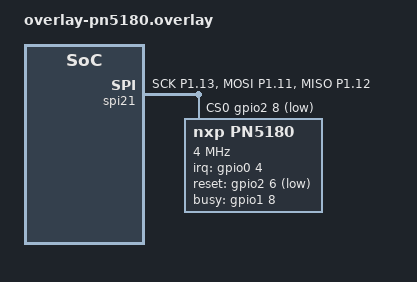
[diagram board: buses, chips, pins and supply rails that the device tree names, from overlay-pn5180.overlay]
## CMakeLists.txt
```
#
# Copyright (c) 2025 Nordic Semiconductor ASA
#
# SPDX-License-Identifier: LicenseRef-Nordic-5-Clause
#

cmake_minimum_required(VERSION 3.20.0)
find_package(Zephyr REQUIRED HINTS $ENV{ZEPHYR_BASE})

project(ncs-nxp-discovery-loop-sample)

set(app_sources
  src/main.c
  src/disc_loop_config.c
  src/disc_loop_pn5190.c
)

target_sources(app PRIVATE ${app_sources})

target_include_directories(app PRIVATE
  ${CMAKE_CURRENT_SOURCE_DIR}/include
)
```

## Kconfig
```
#
# Copyright (c) 2025 Nordic Semiconductor ASA
#
# SPDX-License-Identifier: LicenseRef-Nordic-5-Clause
#

menu "Zephyr"
source "Kconfig.zephyr"
endmenu

module = NCS_NXP_DISCOVERY_LOOP_SAMPLE
module-str = NCS_NXP_DISCOVERY_LOOP_SAMPLE
module-dep = LOG
module-help = Enables application log messages.
source "$(ZEPHYR_BASE)/subsys/logging/Kconfig.template.log_config"

menu "NXP discovery loop sample"

config NCS_NXP_DISCOVERY_LOOP_DISC_CONFIG
	bool "Configure discovery loop profile settings"
	default y
	help
	  Apply sample discovery loop profile configuration via
	  disc_loop_apply_profile() instead of using Reader Library defaults.

config NCS_NXP_DISCOVERY_LOOP_LPCD
	bool "Low power card detection (LPCD)"
	default y
	help
	  Configure and enable LPCD in the discovery loop to reduce power
	  consumption while waiting for a tag.

endmenu
```

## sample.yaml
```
sample:
  description: NXP discovery loop sample application
  name: ncs-nxp-discovery-loop-sample
common:
  sysbuild: true
  build_only: true
  platform_allow: &platforms
    - nrf54l15dk/nrf54l15/cpuapp
  integration_platforms: *platforms
tests:
  app.nxp_discovery_loop: {}
```

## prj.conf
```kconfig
#
# Copyright (c) 2025 Nordic Semiconductor ASA
#
# SPDX-License-Identifier: LicenseRef-Nordic-5-Clause
#
# This file contains selected Kconfig options for the application.

# logging
CONFIG_LOG=y
CONFIG_NCS_NXP_DISCOVERY_LOOP_SAMPLE_LOG_LEVEL_INF=y

# use NFC NXP driver HAL
CONFIG_NFC_DRIVER_NXP=y
CONFIG_NFC_DRIVER_STM=n
CONFIG_PN5190_DRV=y
CONFIG_NFC_NXP_PAL_I14443P3A=y
CONFIG_NFC_NXP_PAL_I14443P4A=y
CONFIG_NFC_NXP_PAL_I14443P4=y

CONFIG_MAIN_STACK_SIZE=4096

# Discovery loop profile configuration (enabled by default via Kconfig)
# CONFIG_NCS_NXP_DISCOVERY_LOOP_DISC_CONFIG=n

# Low power card detection (enabled by default via Kconfig)
# CONFIG_NCS_NXP_DISCOVERY_LOOP_LPCD=n
```

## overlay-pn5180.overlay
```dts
/*
 * Copyright (c) 2025 Nordic Semiconductor ASA
 *
 * SPDX-License-Identifier: LicenseRef-Nordic-5-Clause
 */

/ {
	buttons {
		/delete-node/ button_0;
		/delete-node/ button_2;
		/delete-node/ button_3;
	};

	leds {
		/delete-node/ led_0;
	};

	aliases {
		/delete-property/ sw0;
		/delete-property/ sw2;
		/delete-property/ sw3;
		/delete-property/ led0;
		/delete-property/ mcuboot-led0;
		mcuboot-button0 = &button1;
	};

	chosen {
		nordic,pm-ext-flash = &mx25r64;
	};
};

&pinctrl {
	spi21_default: spi21_default {
		group1 {
			psels = <NRF_PSEL(SPIM_SCK, 1, 13)>,
			        <NRF_PSEL(SPIM_MOSI, 1, 11)>,
			        <NRF_PSEL(SPIM_MISO, 1, 12)>;
			nordic,drive-mode = <NRF_DRIVE_H0H1>;
		};
	};

	spi21_sleep: spi21_sleep {
		group1 {
			psels = <NRF_PSEL(SPIM_SCK, 1, 13)>,
			        <NRF_PSEL(SPIM_MOSI, 1, 11)>,
			        <NRF_PSEL(SPIM_MISO, 1, 12)>;
			low-power-enable;
		};
	};
};

&spi21 {
	compatible = "nordic,nrf-spim";
	status = "okay";
	cs-gpios = <&gpio2 8 GPIO_ACTIVE_LOW>;

	pinctrl-0 = <&spi21_default>;
	pinctrl-1 = <&spi21_sleep>;
	pinctrl-names = "default", "sleep";
	pn5180@0 {
		compatible = "nxp,pn5180";
		reg = <0>;
		spi-max-frequency = <4000000>;
		irq-gpios = <&gpio0 4 GPIO_ACTIVE_HIGH>;
		reset-gpios = <&gpio2 6 (GPIO_ACTIVE_LOW|GPIO_PULL_UP)>;
		busy-gpios = <&gpio1 8 GPIO_ACTIVE_HIGH>;
	};
};

&gpio0 {
	status = "okay";
	/* Use PORT event rather than GPIOTE IN event, to save power */
	sense-edge-mask = <0x00000010>; /* P0.04 */
};
```

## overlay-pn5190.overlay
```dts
/*
 * Copyright (c) 2025 Nordic Semiconductor ASA
 *
 * SPDX-License-Identifier: LicenseRef-Nordic-5-Clause
 */

/ {
	buttons {
		/delete-node/ button_0;
		/delete-node/ button_3;
	};

	leds {
		/delete-node/ led_0;
	};

	aliases {
		/delete-property/ sw0;
		/delete-property/ sw3;
		/delete-property/ led0;
		/delete-property/ mcuboot-led0;
		mcuboot-button0 = &button1;
	};

	chosen {
		nordic,pm-ext-flash = &mx25r64;
	};
};

&pinctrl {
	spi21_default: spi21_default {
		group1 {
			psels = <NRF_PSEL(SPIM_SCK, 1, 13)>,
			        <NRF_PSEL(SPIM_MOSI, 1, 11)>,
			        <NRF_PSEL(SPIM_MISO, 1, 12)>;
			nordic,drive-mode = <NRF_DRIVE_H0H1>;
		};
	};

	spi21_sleep: spi21_sleep {
		group1 {
			psels = <NRF_PSEL(SPIM_SCK, 1, 13)>,
			        <NRF_PSEL(SPIM_MOSI, 1, 11)>,
			        <NRF_PSEL(SPIM_MISO, 1, 12)>;
			low-power-enable;
		};
	};
};

&spi21 {
	compatible = "nordic,nrf-spim";
	status = "okay";
	cs-gpios = <&gpio2 8 GPIO_ACTIVE_LOW>;

	pinctrl-0 = <&spi21_default>;
	pinctrl-1 = <&spi21_sleep>;
	pinctrl-names = "default", "sleep";
	pn5190@0 {
		compatible = "nxp,pn5190";
		reg = <0>;
		spi-max-frequency = <8000000>;
		irq-gpios = <&gpio0 4 GPIO_ACTIVE_HIGH>;
		reset-gpios = <&gpio2 6 (GPIO_ACTIVE_LOW|GPIO_PULL_UP)>;
	};
};

&gpio0 {
	status = "okay";
	/* Use PORT event rather than GPIOTE IN event, to save power */
	sense-edge-mask = <0x00000010>; /* P0.04 */
};
```

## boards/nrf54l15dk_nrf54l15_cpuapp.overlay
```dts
/*
 * Copyright (c) 2025 Nordic Semiconductor ASA
 *
 * SPDX-License-Identifier: LicenseRef-Nordic-5-Clause
 */

&gpio0 {
	status = "okay";
};

&gpio1 {
	status = "okay";
};

&gpio2 {
	status = "okay";
};

/* restore full RRAM and SRAM space - by default some parts are dedicated to FLRP */
&cpuapp_rram {
	reg = <0x0 DT_SIZE_K(1524)>;
};

&cpuapp_sram {
	reg = <0x20000000 DT_SIZE_K(256)>;
	ranges = <0x0 0x20000000 0x40000>;
};

&mx25r64 {
	status = "okay";
};
```

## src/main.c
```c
#include <zephyr/kernel.h>
#include <zephyr/logging/log.h>

#include <disc_loop_config.h>
#include <nxp_nfc_debug.h>

LOG_MODULE_REGISTER(nxp_discovery_loop, CONFIG_NCS_NXP_DISCOVERY_LOOP_SAMPLE_LOG_LEVEL);

phacDiscLoop_Sw_DataParams_t *disc_loop;

#if defined(CONFIG_NFC_NXP_PAL_I14443P3A) && \
	defined(CONFIG_NFC_NXP_PAL_I14443P4A) && \
	defined(CONFIG_NFC_NXP_PAL_I14443P4)
static uint8_t type_a_ats_buf[64];
#endif

static uint16_t saved_poll_tech_cfg;
static volatile uint8_t halt_forever = 1U;

static uint16_t nfc_forum_process(uint16_t entry_point, phStatus_t disc_loop_status)
{
	phStatus_t status;
	uint16_t tech_detected;
	uint16_t num_tags;
	uint16_t error_info;
	uint8_t tech_idx;

	if (entry_point != PHAC_DISCLOOP_ENTRY_POINT_POLL) {
		return PHAC_DISCLOOP_ENTRY_POINT_POLL;
	}

	if ((disc_loop_status & PH_ERR_MASK) == PHAC_DISCLOOP_MULTI_TECH_DETECTED) {
		LOG_INF("Multiple technology detected");

		status = phacDiscLoop_GetConfig(disc_loop, PHAC_DISCLOOP_CONFIG_TECH_DETECTED,
						&tech_detected);
		if (status != PH_ERR_SUCCESS) {
			LOG_ERR("phacDiscLoop_GetConfig PHAC_DISCLOOP_CONFIG_TECH_DETECTED failed: 0x%04x",
				status);
			return PHAC_DISCLOOP_ENTRY_POINT_POLL;
		}

		if (PHAC_DISCLOOP_CHECK_ANDMASK(tech_detected, PHAC_DISCLOOP_POS_BIT_MASK_A)) {
			LOG_INF("Type A detected");
		}
		if (PHAC_DISCLOOP_CHECK_ANDMASK(tech_detected, PHAC_DISCLOOP_POS_BIT_MASK_B)) {
			LOG_INF("Type B detected");
		}

		for (tech_idx = 0; tech_idx < PHAC_DISCLOOP_PASS_POLL_MAX_TECHS_SUPPORTED;
		     tech_idx++) {
			if (PHAC_DISCLOOP_CHECK_ANDMASK(tech_detected, (1 << tech_idx))) {
				status = phacDiscLoop_SetConfig(disc_loop,
								PHAC_DISCLOOP_CONFIG_PAS_POLL_TECH_CFG,
								(1 << tech_idx));
				if (status != PH_ERR_SUCCESS) {
					LOG_ERR("phacDiscLoop_SetConfig PHAC_DISCLOOP_CONFIG_PAS_POLL_TECH_CFG failed: 0x%04x",
						status);
					return PHAC_DISCLOOP_ENTRY_POINT_POLL;
				}
				break;
			}
		}

		nxp_nfc_debug_print_tech((1 << tech_idx));

		status = phacDiscLoop_SetConfig(disc_loop, PHAC_DISCLOOP_CONFIG_NEXT_POLL_STATE,
						PHAC_DISCLOOP_POLL_STATE_COLLISION_RESOLUTION);
		if (status != PH_ERR_SUCCESS) {
			LOG_ERR("phacDiscLoop_SetConfig PHAC_DISCLOOP_CONFIG_NEXT_POLL_STATE failed: 0x%04x",
				status);
			return PHAC_DISCLOOP_ENTRY_POINT_POLL;
		}

		disc_loop_status = phacDiscLoop_Run(disc_loop, entry_point);
	}

	if ((disc_loop_status & PH_ERR_MASK) == PHAC_DISCLOOP_MULTI_DEVICES_RESOLVED) {
		status = phacDiscLoop_GetConfig(disc_loop, PHAC_DISCLOOP_CONFIG_TECH_DETECTED,
						&tech_detected);
		if (status != PH_ERR_SUCCESS) {
			LOG_ERR("phacDiscLoop_GetConfig PHAC_DISCLOOP_CONFIG_TECH_DETECTED failed: 0x%04x",
				status);
			return PHAC_DISCLOOP_ENTRY_POINT_POLL;
		}

		status = phacDiscLoop_GetConfig(disc_loop, PHAC_DISCLOOP_CONFIG_NR_TAGS_FOUND,
						&num_tags);
		if (status != PH_ERR_SUCCESS) {
			LOG_ERR("phacDiscLoop_GetConfig PHAC_DISCLOOP_CONFIG_NR_TAGS_FOUND failed: 0x%04x",
				status);
			return PHAC_DISCLOOP_ENTRY_POINT_POLL;
		}

		LOG_INF("Multiple cards resolved: %d cards", num_tags);
		nxp_nfc_debug_print_tag_info(disc_loop, num_tags, tech_detected);

		if (num_tags > 1) {
			for (tech_idx = 0; tech_idx < PHAC_DISCLOOP_PASS_POLL_MAX_TECHS_SUPPORTED;
			     tech_idx++) {
				if (PHAC_DISCLOOP_CHECK_ANDMASK(tech_detected, (1 << tech_idx))) {
					LOG_INF("Activating one card");
					status = phacDiscLoop_ActivateCard(disc_loop, tech_idx, 0);
					break;
				}
			}

			if ((status & PH_ERR_MASK) == PHAC_DISCLOOP_DEVICE_ACTIVATED) {
				status = phacDiscLoop_GetConfig(disc_loop,
								PHAC_DISCLOOP_CONFIG_TECH_DETECTED,
								&tech_detected);
				if (status != PH_ERR_SUCCESS) {
					LOG_ERR("phacDiscLoop_GetConfig PHAC_DISCLOOP_CONFIG_TECH_DETECTED failed: 0x%04x",
						status);
					return PHAC_DISCLOOP_ENTRY_POINT_POLL;
				}

				nxp_nfc_debug_print_tag_info(disc_loop, 0x01, tech_detected);
			} else {
				LOG_ERR("Card activation failed");
			}
		}
	} else if ((disc_loop_status & PH_ERR_MASK) == PHAC_DISCLOOP_DEVICE_ACTIVATED) {
		LOG_INF("Card detected and activated successfully");
		status = phacDiscLoop_GetConfig(disc_loop, PHAC_DISCLOOP_CONFIG_NR_TAGS_FOUND,
						&num_tags);
		if (status != PH_ERR_SUCCESS) {
			LOG_ERR("phacDiscLoop_GetConfig PHAC_DISCLOOP_CONFIG_NR_TAGS_FOUND failed: 0x%04x",
				status);
			return PHAC_DISCLOOP_ENTRY_POINT_POLL;
		}

		status = phacDiscLoop_GetConfig(disc_loop, PHAC_DISCLOOP_CONFIG_TECH_DETECTED,
						&tech_detected);
		if (status != PH_ERR_SUCCESS) {
			LOG_ERR("phacDiscLoop_GetConfig PHAC_DISCLOOP_CONFIG_TECH_DETECTED failed: 0x%04x",
				status);
			return PHAC_DISCLOOP_ENTRY_POINT_POLL;
		}

		nxp_nfc_debug_print_tag_info(disc_loop, num_tags, tech_detected);
	} else if ((disc_loop_status & PH_ERR_MASK) != PHAC_DISCLOOP_NO_TECH_DETECTED &&
		   (disc_loop_status & PH_ERR_MASK) != PHAC_DISCLOOP_NO_DEVICE_RESOLVED &&
		   (disc_loop_status & PH_ERR_MASK) != PHAC_DISCLOOP_LPCD_NO_TECH_DETECTED) {
		if ((disc_loop_status & PH_ERR_MASK) == PHAC_DISCLOOP_FAILURE) {
			status = phacDiscLoop_GetConfig(disc_loop,
							PHAC_DISCLOOP_CONFIG_ADDITIONAL_INFO,
							&error_info);
			if (status != PH_ERR_SUCCESS) {
				LOG_ERR("phacDiscLoop_GetConfig PHAC_DISCLOOP_CONFIG_ADDITIONAL_INFO failed: 0x%04x",
					status);
				return PHAC_DISCLOOP_ENTRY_POINT_POLL;
			}
			nxp_nfc_debug_print_error_info(error_info);
		} else {
			nxp_nfc_debug_print_error_info(disc_loop_status);
		}
	}

	return PHAC_DISCLOOP_ENTRY_POINT_POLL;
}

static void disc_loop_run(void);

int main(void)
{
	int ret;
	phNfcLib_Status_t nfc_lib_status;

	ret = 0;

	do {
		if (nxp_nfc_init() != 0) {
			LOG_ERR("nxp_nfc_init failed");
			ret = -1;
			break;
		}

		LOG_INF("DiscoveryLoop Example");

		nfc_lib_status = phNfcLib_Init();
		if (nfc_lib_status != PH_NFCLIB_STATUS_SUCCESS) {
			LOG_ERR("phNfcLib_Init failed: 0x%04x", nfc_lib_status);
			ret = -1;
			break;
		}

		hal = phNfcLib_GetDataParams(PH_COMP_HAL);
		disc_loop = phNfcLib_GetDataParams(PH_COMP_AC_DISCLOOP);

#if defined(CONFIG_NFC_NXP_PAL_I14443P3A) && \
	defined(CONFIG_NFC_NXP_PAL_I14443P4A) && \
	defined(CONFIG_NFC_NXP_PAL_I14443P4)
		disc_loop->sTypeATargetInfo.sTypeA_I3P4.pAts = type_a_ats_buf;
#endif

		if (nxp_nfc_start_irq_monitor(disc_loop_irq_handler) != 0) {
			LOG_ERR("nxp_nfc_start_irq_monitor failed");
			ret = -1;
			break;
		}

		disc_loop_run();
	} while (0);

	while (halt_forever) {
		/* Halt on initialization failure or unexpected scheduler exit. */
	}

	return ret;
}

/**
 * Run the discovery loop in poll mode.
 *
 * Detects and reports NFC technology types. Optionally applies a discovery
 * loop profile and enables LPCD based on Kconfig. Does not return.
 */
static void disc_loop_run(void)
{
	phStatus_t status;
	phStatus_t tmp_status;
	uint16_t entry_point;
#ifdef CONFIG_NCS_NXP_DISCOVERY_LOOP_DISC_CONFIG
	phacDiscLoop_Profile_t profile = PHAC_DISCLOOP_PROFILE_NFC;

	status = disc_loop_apply_profile(disc_loop, profile);
	if (status != PH_ERR_SUCCESS) {
		LOG_ERR("disc_loop_apply_profile failed: 0x%04x", status);
		return;
	}
#endif /* CONFIG_NCS_NXP_DISCOVERY_LOOP_DISC_CONFIG */

	status = phacDiscLoop_GetConfig(disc_loop, PHAC_DISCLOOP_CONFIG_PAS_POLL_TECH_CFG,
					&saved_poll_tech_cfg);
	if (status != PH_ERR_SUCCESS) {
		LOG_ERR("phacDiscLoop_GetConfig PHAC_DISCLOOP_CONFIG_PAS_POLL_TECH_CFG failed: 0x%04x",
			status);
		return;
	}

	entry_point = PHAC_DISCLOOP_ENTRY_POINT_POLL;
	status = PHAC_DISCLOOP_LPCD_NO_TECH_DETECTED;

	tmp_status = phhalHw_FieldOff(hal);
	if (tmp_status != PH_ERR_SUCCESS) {
		LOG_ERR("phhalHw_FieldOff failed: 0x%04x", tmp_status);
		return;
	}

	while (true) {
		tmp_status = phacDiscLoop_SetConfig(disc_loop, PHAC_DISCLOOP_CONFIG_NEXT_POLL_STATE,
						    PHAC_DISCLOOP_POLL_STATE_DETECTION);
		if (tmp_status != PH_ERR_SUCCESS) {
			LOG_ERR("phacDiscLoop_SetConfig PHAC_DISCLOOP_CONFIG_NEXT_POLL_STATE failed: 0x%04x",
				tmp_status);
			return;
		}

#if defined(CONFIG_NCS_NXP_DISCOVERY_LOOP_LPCD)
		if ((status & PH_ERR_MASK) == PHAC_DISCLOOP_LPCD_NO_TECH_DETECTED) {
			status = disc_loop_configure_lpcd();
			if (status != PH_ERR_SUCCESS) {
				LOG_ERR("disc_loop_configure_lpcd failed: 0x%04x", status);
				return;
			}
		}

		status = phacDiscLoop_SetConfig(disc_loop, PHAC_DISCLOOP_CONFIG_ENABLE_LPCD, PH_ON);
		if (status != PH_ERR_SUCCESS) {
			LOG_ERR("phacDiscLoop_SetConfig PHAC_DISCLOOP_CONFIG_ENABLE_LPCD failed: 0x%04x",
				status);
			return;
		}
#endif /* CONFIG_NCS_NXP_DISCOVERY_LOOP_LPCD */

		status = phacDiscLoop_Run(disc_loop, entry_point);

		entry_point = nfc_forum_process(entry_point, status);

		tmp_status = phacDiscLoop_SetConfig(disc_loop, PHAC_DISCLOOP_CONFIG_PAS_POLL_TECH_CFG,
						    saved_poll_tech_cfg);
		if (tmp_status != PH_ERR_SUCCESS) {
			LOG_ERR("phacDiscLoop_SetConfig PHAC_DISCLOOP_CONFIG_PAS_POLL_TECH_CFG failed: 0x%04x",
				tmp_status);
			return;
		}

		tmp_status = phhalHw_FieldOff(hal);
		if (tmp_status != PH_ERR_SUCCESS) {
			LOG_ERR("phhalHw_FieldOff failed: 0x%04x", tmp_status);
			return;
		}

		tmp_status = phhalHw_Wait(hal, PHHAL_HW_TIME_MICROSECONDS, 5100);
		if (tmp_status != PH_ERR_SUCCESS) {
			LOG_ERR("phhalHw_Wait failed: 0x%04x", tmp_status);
			return;
		}
	}
}
```

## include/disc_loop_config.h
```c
#ifndef DISC_LOOP_CONFIG_H
#define DISC_LOOP_CONFIG_H

#include <nxp_nfc.h>

#include <ph_Status.h>
#include <phDriver.h>
#include <phNfcLib.h>
#include <phacDiscLoop.h>

extern phhalHw_Pn5190_DataParams_t *hal;

extern phStatus_t disc_loop_configure_lpcd(void);
extern void disc_loop_irq_handler(void);

#ifdef CONFIG_NCS_NXP_DISCOVERY_LOOP_DISC_CONFIG
phStatus_t disc_loop_apply_profile(phacDiscLoop_Sw_DataParams_t *disc_loop,
				   phacDiscLoop_Profile_t profile);
#endif /* CONFIG_NCS_NXP_DISCOVERY_LOOP_DISC_CONFIG */

#endif /* DISC_LOOP_CONFIG_H */
```

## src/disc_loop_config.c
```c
#include <disc_loop_config.h>

#include <zephyr/logging/log.h>

LOG_MODULE_DECLARE(nxp_discovery_loop, CONFIG_NCS_NXP_DISCOVERY_LOOP_SAMPLE_LOG_LEVEL);

#ifdef CONFIG_NCS_NXP_DISCOVERY_LOOP_DISC_CONFIG

/**
* Configure the discovery loop with default values for the selected profile.
* Application can read these values from EEPROM and apply them via SetConfig.
 * \param   disc_loop   Discovery loop data parameters
* \param   profile     Reader Library profile
* \note    Values used below are default and are for demonstration purpose.
*/
phStatus_t disc_loop_apply_profile(phacDiscLoop_Sw_DataParams_t *disc_loop,
                               phacDiscLoop_Profile_t profile)
{
    phStatus_t status = PH_ERR_SUCCESS;
    uint16_t   pas_poll_config = 0;

#ifdef NXPBUILD__PHAC_DISCLOOP_TYPEA_TAGS
    pas_poll_config |= PHAC_DISCLOOP_POS_BIT_MASK_A;
#endif
#ifdef NXPBUILD__PHAC_DISCLOOP_TYPEB_TAGS
    pas_poll_config |= PHAC_DISCLOOP_POS_BIT_MASK_B;
#endif

    if (profile == PHAC_DISCLOOP_PROFILE_NFC) {
        /* passive Bailout bitmap config. */
        status = phacDiscLoop_SetConfig(disc_loop, PHAC_DISCLOOP_CONFIG_BAIL_OUT, 0x00);
        if (status != PH_ERR_SUCCESS) {
            LOG_ERR("phacDiscLoop_SetConfig PHAC_DISCLOOP_CONFIG_BAIL_OUT failed: 0x%04x", status);
            return status;
        }

        /* Set Passive poll bitmap config. */
        status = phacDiscLoop_SetConfig(disc_loop, PHAC_DISCLOOP_CONFIG_PAS_POLL_TECH_CFG, pas_poll_config);
        if (status != PH_ERR_SUCCESS) {
            LOG_ERR("phacDiscLoop_SetConfig PHAC_DISCLOOP_CONFIG_PAS_POLL_TECH_CFG failed: 0x%04x", status);
            return status;
        }

        /* Set Active poll bitmap config. */
        status = phacDiscLoop_SetConfig(disc_loop, PHAC_DISCLOOP_CONFIG_ACT_POLL_TECH_CFG, 0);
        if (status != PH_ERR_SUCCESS) {
            LOG_ERR("phacDiscLoop_SetConfig PHAC_DISCLOOP_CONFIG_ACT_POLL_TECH_CFG failed: 0x%04x", status);
            return status;
        }

        /* reset collision Pending */
        status = phacDiscLoop_SetConfig(disc_loop, PHAC_DISCLOOP_CONFIG_COLLISION_PENDING, PH_OFF);
        if (status != PH_ERR_SUCCESS) {
            LOG_ERR("phacDiscLoop_SetConfig PHAC_DISCLOOP_CONFIG_COLLISION_PENDING failed: 0x%04x", status);
            return status;
        }

        /* whether anti-collision is supported or not. */
        status = phacDiscLoop_SetConfig(disc_loop, PHAC_DISCLOOP_CONFIG_ANTI_COLL, PH_ON);
        if (status != PH_ERR_SUCCESS) {
            LOG_ERR("phacDiscLoop_SetConfig PHAC_DISCLOOP_CONFIG_ANTI_COLL failed: 0x%04x", status);
            return status;
        }

        /* Poll Mode default state*/
        status = phacDiscLoop_SetConfig(disc_loop, PHAC_DISCLOOP_CONFIG_NEXT_POLL_STATE, PHAC_DISCLOOP_POLL_STATE_DETECTION);
        if (status != PH_ERR_SUCCESS) {
            LOG_ERR("phacDiscLoop_SetConfig PHAC_DISCLOOP_CONFIG_NEXT_POLL_STATE failed: 0x%04x", status);
            return status;
        }

#ifdef  NXPBUILD__PHAC_DISCLOOP_TYPEA_TAGS
        /* Device limit for Type A */
        status = phacDiscLoop_SetConfig(disc_loop, PHAC_DISCLOOP_CONFIG_TYPEA_DEVICE_LIMIT, 1);
        if (status != PH_ERR_SUCCESS) {
            LOG_ERR("phacDiscLoop_SetConfig PHAC_DISCLOOP_CONFIG_TYPEA_DEVICE_LIMIT failed: 0x%04x", status);
            return status;
        }

        /* Passive polling Tx Guard times in micro seconds. */
        status = phacDiscLoop_SetConfig(disc_loop, PHAC_DISCLOOP_CONFIG_GTA_VALUE_US, 5100);
        if (status != PH_ERR_SUCCESS) {
            LOG_ERR("phacDiscLoop_SetConfig PHAC_DISCLOOP_CONFIG_GTA_VALUE_US failed: 0x%04x", status);
            return status;
        }
#endif

#ifdef NXPBUILD__PHAC_DISCLOOP_TYPEB_TAGS
        /* Device limit for Type B */
        status = phacDiscLoop_SetConfig(disc_loop, PHAC_DISCLOOP_CONFIG_TYPEB_DEVICE_LIMIT, 1);
        if (status != PH_ERR_SUCCESS) {
            LOG_ERR("phacDiscLoop_SetConfig PHAC_DISCLOOP_CONFIG_TYPEB_DEVICE_LIMIT failed: 0x%04x", status);
            return status;
        }

        status = phacDiscLoop_SetConfig(disc_loop, PHAC_DISCLOOP_CONFIG_GTB_VALUE_US, 5100);
        if (status != PH_ERR_SUCCESS) {
            LOG_ERR("phacDiscLoop_SetConfig PHAC_DISCLOOP_CONFIG_GTB_VALUE_US failed: 0x%04x", status);
            return status;
        }
#endif

        /* Discovery loop Operation mode */
        status = phacDiscLoop_SetConfig(disc_loop, PHAC_DISCLOOP_CONFIG_OPE_MODE, RD_LIB_MODE_NFC);
        if (status != PH_ERR_SUCCESS) {
            LOG_ERR("phacDiscLoop_SetConfig PHAC_DISCLOOP_CONFIG_OPE_MODE failed: 0x%04x", status);
            return status;
        }
    } else {
        /* Do Nothing */
    }

    return status;
}

#endif /* CONFIG_NCS_NXP_DISCOVERY_LOOP_DISC_CONFIG */
```

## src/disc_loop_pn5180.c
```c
#include <ph_Status.h>

#ifdef NXPBUILD__PHHAL_HW_PN5180

#include <disc_loop_config.h>

#include <BoardSelection.h>
#include <phhalHw_Pn5180_Instr.h>

#include <zephyr/logging/log.h>

LOG_MODULE_DECLARE(nxp_discovery_loop, CONFIG_NCS_NXP_DISCOVERY_LOOP_SAMPLE_LOG_LEVEL);

phhalHw_Pn5180_DataParams_t *hal;

phStatus_t disc_loop_configure_lpcd(void)
{
	phStatus_t status;
	uint8_t lpcd_threshold_eeprom_addr = 0x37U;
	uint8_t lpcd_threshold = 0x10U;
	uint16_t lpcd_mode = PHHAL_HW_PN5180_LPCD_MODE_POWERDOWN;

	status = phhalHw_Pn5180_Instr_WriteE2Prom(hal, lpcd_threshold_eeprom_addr,
						  &lpcd_threshold, 1U);
	if (status != PH_ERR_SUCCESS) {
		LOG_ERR("phhalHw_Pn5180_Instr_WriteE2Prom LPCD threshold failed: 0x%04x", status);
		return status;
	}

	status = phhalHw_Pn5180_Int_LPCD_SetConfig(hal, PHHAL_HW_CONFIG_LPCD_MODE, lpcd_mode);
	if (status != PH_ERR_SUCCESS) {
		LOG_ERR("phhalHw_Pn5180_Int_LPCD_SetConfig LPCD_MODE failed: 0x%04x", status);
		return status;
	}

	return status;
}

void disc_loop_irq_handler(void)
{
	if (phDriver_PinRead(PHDRIVER_PIN_IRQ, PH_DRIVER_PINFUNC_INTERRUPT)) {
		phDriver_PinClearIntStatus(PHDRIVER_PIN_IRQ);

		if (hal->pRFISRCallback != NULL) {
			hal->pRFISRCallback(hal);
		}
	}
}

#endif /* NXPBUILD__PHHAL_HW_PN5180 */
```

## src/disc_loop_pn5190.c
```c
#include <ph_Status.h>

#ifdef NXPBUILD__PHHAL_HW_PN5190

#include <disc_loop_config.h>

#include <BoardSelection.h>
#include <phbalReg.h>
#include <phhalHw_Pn5190_Instr.h>

#include <zephyr/logging/log.h>

LOG_MODULE_DECLARE(nxp_discovery_loop, CONFIG_NCS_NXP_DISCOVERY_LOOP_SAMPLE_LOG_LEVEL);

phhalHw_Pn5190_DataParams_t *hal;

#define PN5190_DIRECTION_BYTE_LEN 0x01U
#define PN5190_TYPE_FIELD_LEN     0x01U
#define PN5190_LENGTH_FIELD_LEN   0x02U

static volatile uint8_t skip_event_post;

static void pn5190_async_callback(void)
{
	uint32_t event_status_reg = 0x0U;
	uint16_t event_len = 0x0U;
	uint8_t backup = 0U;
	uint8_t spi_read_len = 0U;

	event_len = (uint16_t)hal->sIrqResp.pIsrEvtBuffPtr[2];
	event_len <<= 8;
	event_len |= ((uint16_t)hal->sIrqResp.pIsrEvtBuffPtr[3]);

	event_status_reg = (uint32_t)hal->sIrqResp.pIsrEvtBuffPtr[4];
	event_status_reg |= ((uint32_t)hal->sIrqResp.pIsrEvtBuffPtr[5]) << 8U;
	event_status_reg |= ((uint32_t)hal->sIrqResp.pIsrEvtBuffPtr[6]) << 16U;
	event_status_reg |= ((uint32_t)hal->sIrqResp.pIsrEvtBuffPtr[7]) << 24U;

	if ((event_status_reg & PH_PN5190_EVT_TX_OVERCURRENT_ERROR) != 0U) {
		LOG_INF("Received TX Over Current Event... ");
		(void)phhalHw_AsyncAbort(hal);
	}
	if ((event_status_reg & PH_PN5190_EVT_CTS) != 0U) {
		LOG_INF("Received CTS Event... ");
		(void)phhalHw_SetConfig(hal, PHHAL_HW_PN5190_CONFIG_CTS_EVENT_STATUS, PH_ON);
	}
	if ((event_status_reg & PH_PN5190_EVT_RFON_DETECT) != 0U) {
		phStatus_t status;
		uint16_t response_len = 0U;
		uint16_t rx_length;

		(void)phhalHw_SetConfig(hal, PHHAL_HW_PN5190_CONFIG_RF_ON_EVENT_STATUS, PH_ON);
		skip_event_post = 0x1U;

		spi_read_len = (hal->sIrqResp.bIsrBytesRead -
				(PN5190_DIRECTION_BYTE_LEN + PN5190_TYPE_FIELD_LEN +
				 PN5190_LENGTH_FIELD_LEN));

		if (event_len > spi_read_len) {
			rx_length = (uint16_t)(event_len - spi_read_len + PN5190_DIRECTION_BYTE_LEN);
			backup = hal->sIrqResp.pIsrEvtBuffPtr[event_len - 1];

			status = phbalReg_Exchange(NULL, PH_EXCHANGE_DEFAULT, NULL, 0U, rx_length,
						   &hal->sIrqResp.pIsrEvtBuffPtr[event_len - 1],
						   &response_len);

			if ((status != PH_DRIVER_SUCCESS) || (response_len != rx_length)) {
				return;
			}

			hal->sIrqResp.pIsrEvtBuffPtr[event_len - 1] = backup;
		}
	}
	if ((event_status_reg & (0xFFFFFFFF << 0x0C)) != 0U) {
		LOG_INF("Received Unexpected Event that should not be reported by PN5190... ");
	}
}

phStatus_t disc_loop_configure_lpcd(void)
{
	phStatus_t status = PH_ERR_SUCCESS;

	status = phhalHw_Pn5190_Instr_LPCD_SetConfig(hal, PHHAL_HW_CONFIG_SET_LPCD_WAKEUPTIME_MS,
						     100U);
	if (status != PH_ERR_SUCCESS) {
		LOG_ERR("phhalHw_Pn5190_Instr_LPCD_SetConfig WAKEUPTIME_MS failed: 0x%04x", status);
		return status;
	}

	status = phhalHw_Pn5190_Instr_LPCD_SetConfig(hal, PHHAL_HW_CONFIG_LPCD_MODE,
						     PHHAL_HW_PN5190_LPCD_MODE_DEFAULT);
	if (status != PH_ERR_SUCCESS) {
		LOG_ERR("phhalHw_Pn5190_Instr_LPCD_SetConfig LPCD_MODE DEFAULT failed: 0x%04x", status);
		return status;
	}

	status = phhalHw_Pn5190_Instr_LPCD_SetConfig(hal, PHHAL_HW_CONFIG_LPCD_CONFIG,
						     PHHAL_HW_PN5190_LPCD_CTRL_LPCD_CALIB);
	if (status != PH_ERR_SUCCESS) {
		LOG_ERR("phhalHw_Pn5190_Instr_LPCD_SetConfig LPCD_CALIB failed: 0x%04x", status);
		return status;
	}

	status = phhalHw_Lpcd(hal);
	if (status != PH_ERR_SUCCESS) {
		LOG_ERR("phhalHw_Lpcd failed: 0x%04x", status);
		return status;
	}

	status = phhalHw_Pn5190_Instr_LPCD_SetConfig(hal, PHHAL_HW_CONFIG_SET_LPCD_WAKEUPTIME_MS,
						     330U);
	if (status != PH_ERR_SUCCESS) {
		LOG_ERR("phhalHw_Pn5190_Instr_LPCD_SetConfig WAKEUPTIME_MS 330 failed: 0x%04x", status);
		return status;
	}

	status = phhalHw_Pn5190_Instr_LPCD_SetConfig(hal, PHHAL_HW_CONFIG_LPCD_MODE,
						     PHHAL_HW_PN5190_LPCD_MODE_POWERDOWN);
	if (status != PH_ERR_SUCCESS) {
		LOG_ERR("phhalHw_Pn5190_Instr_LPCD_SetConfig LPCD_MODE POWERDOWN failed: 0x%04x",
			status);
		return status;
	}

	status = phhalHw_Pn5190_Instr_LPCD_SetConfig(hal, PHHAL_HW_CONFIG_LPCD_CONFIG,
						     PHHAL_HW_PN5190_LPCD_CTRL_LPCD);
	if (status != PH_ERR_SUCCESS) {
		LOG_ERR("phhalHw_Pn5190_Instr_LPCD_SetConfig LPCD_CTRL failed: 0x%04x", status);
		return status;
	}

	return status;
}

void disc_loop_irq_handler(void)
{
	if (phDriver_PinRead(PHDRIVER_PIN_IRQ, PH_DRIVER_PINFUNC_INTERRUPT)) {
		phDriver_PinClearIntStatus(PHDRIVER_PIN_IRQ);

		if ((hal->wId == (PH_COMP_HAL | PHHAL_HW_PN5190_ID)) &&
		    (hal->pRFISRCallback != NULL)) {
			phStatus_t status;
			uint16_t response_len = 0U;
			uint16_t rx_length = (uint16_t)hal->sIrqResp.bIsrBytesRead;

			status = phbalReg_Exchange(NULL, PH_EXCHANGE_DEFAULT, NULL, 0U, rx_length,
						   hal->sIrqResp.pHandlerModeBuffPtr,
						   &response_len);

			if ((status != PH_DRIVER_SUCCESS) || (response_len != rx_length)) {
				return;
			}

			if (hal->sIrqResp.pHandlerModeBuffPtr[1] == PH_PN5190_EVT_RSP) {
				hal->sIrqResp.pIsrEvtBuffPtr = hal->sIrqResp.pHandlerModeBuffPtr;

				pn5190_async_callback();

				if (skip_event_post == 0x0U) {
					hal->pRFISRCallback(hal);
				}
				skip_event_post = 0x0U;
			} else {
				hal->sIrqResp.pIsrBuffPtr = hal->sIrqResp.pHandlerModeBuffPtr;
				hal->pRFISRCallback(hal);
			}

			if (hal->sIrqResp.pHandlerModeBuffPtr == &hal->sIrqResp.aISRReadBuf[0]) {
				hal->sIrqResp.pHandlerModeBuffPtr =
					&hal->sIrqResp.aISRReadBuf2[0];
			} else {
				hal->sIrqResp.pHandlerModeBuffPtr =
					&hal->sIrqResp.aISRReadBuf[0];
			}
		}
	}
}

#endif /* NXPBUILD__PHHAL_HW_PN5190 */
```
